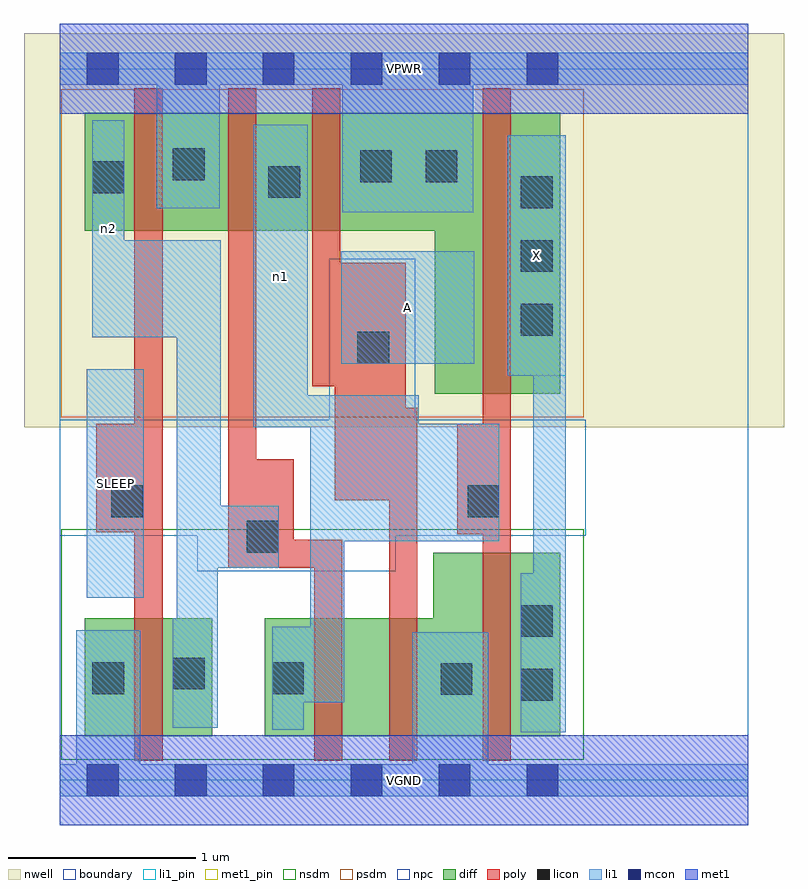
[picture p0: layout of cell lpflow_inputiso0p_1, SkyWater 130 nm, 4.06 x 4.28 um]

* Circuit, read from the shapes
.subckt lpflow_inputiso0p_1 A SLEEP VGND VPWR X n1 n2
XM1 n2 SLEEP VGND VSUBS sky130_fd_pr__nfet_01v8 w=0.63 l=0.15
XM2 n3 n2 n1 VSUBS sky130_fd_pr__nfet_01v8 w=0.63 l=0.15
XM3 VGND A n3 VSUBS sky130_fd_pr__nfet_01v8 w=0.63 l=0.15
XM4 X n1 VGND VSUBS sky130_fd_pr__nfet_01v8 w=0.98 l=0.15
XM5 VPWR SLEEP n2 n4 sky130_fd_pr__pfet_01v8 w=0.63 l=0.15
XM6 n1 n2 VPWR n4 sky130_fd_pr__pfet_01v8 w=0.63 l=0.15
XM7 VPWR A n1 n4 sky130_fd_pr__pfet_01v8 w=0.63 l=0.15
XM8 X n1 VPWR n4 sky130_fd_pr__pfet_01v8 w=1.5 l=0.15
.ends

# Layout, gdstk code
import gdstk
lib = gdstk.Library(unit=1e-6, precision=1e-09)
def R(c, l, rs):  # rectangles x0, y0, x1, y1
    for r in rs: c.add(gdstk.rectangle(r[:2], r[2:], *l))
def A(c, l, x, y, w, h, nx, ny, dx, dy):  # array of equal rectangles
    R(c, l, [(x+i*dx, y+j*dy, x+i*dx+w, y+j*dy+h) for i in range(nx) for j in range(ny)])
nwell = (64, 20)
diff = (65, 20)
poly = (66, 20)
licon = (66, 44)
li1_pin = (67, 16)
li1 = (67, 20)
mcon = (67, 44)
met1_pin = (68, 16)
met1 = (68, 20)
nsdm = (93, 44)
psdm = (94, 20)
npc = (95, 20)
boundary = (235, 4)

lpflow_inputiso0p_1 = lib.new_cell('lpflow_inputiso0p_1')
R(lpflow_inputiso0p_1, nwell, [(-0.19,1.885,3.87,3.99), (0,1.885,3.68,3.99)])
R(lpflow_inputiso0p_1, diff, [(0.135,0.235,0.815,0.865), (1.095,0.235,2.675,0.865), (1.995,0.235,2.675,1.215), (2.005,2.065,2.675,3.565), (0.135,2.935,2.675,3.565)])
R(lpflow_inputiso0p_1, poly, [(0.4,0.105,0.55,3.695), (1.36,0.105,1.51,1.285), (1.76,0.105,1.91,1.99), (2.26,0.105,2.41,3.695), (0.9,1.135,1.05,3.695), (0.9,1.135,1.25,1.715), (0.9,1.135,1.51,1.285), (2.125,1.315,2.41,1.905), (0.195,1.325,0.55,1.905), (1.47,1.495,1.85,2.765), (1.35,2.105,1.5,3.695)])
A(lpflow_inputiso0p_1, licon, 2.465, 2.375, 0.17, 0.17, 1, 3, 0, 0.34)
R(lpflow_inputiso0p_1, licon, [(2.465,0.425,2.635,0.595), (2.035,0.455,2.205,0.625), (0.175,0.46,0.345,0.63), (1.135,0.46,1.305,0.63), (0.605,0.485,0.775,0.655), (2.465,0.765,2.635,0.935), (1,1.215,1.17,1.385), (0.275,1.405,0.445,1.575), (2.18,1.405,2.35,1.575), (1.59,2.225,1.76,2.395), (1.115,3.11,1.285,3.28), (0.175,3.135,0.345,3.305), (1.605,3.195,1.775,3.365), (1.955,3.195,2.125,3.365), (0.605,3.205,0.775,3.375)])
R(lpflow_inputiso0p_1, li1_pin, [(0.145,0.975,0.45,2.195), (2.395,2.16,2.705,3.445), (1.505,2.225,2.215,2.825)])
R(lpflow_inputiso0p_1, li1, [(0,-0.085,3.68,0.085), (0.09,-0.085,0.43,0.8), (1.885,-0.085,2.29,0.79), (2.465,0.255,2.705,1.105), (2.53,0.255,2.705,3.445), (1.135,0.27,1.305,0.82), (0.605,0.28,0.845,0.865), (0.625,0.28,0.845,2.885), (1.135,0.415,1.52,0.82), (1.34,0.415,1.52,2.055), (0.145,0.975,0.45,2.195), (0.625,1.135,1.17,1.465), (0.625,1.135,0.86,2.885), (1.34,1.275,2.35,1.905), (1.035,1.885,1.325,3.5), (1.035,1.885,1.92,2.055), (2.395,2.16,2.705,3.445), (1.505,2.225,2.215,2.825), (0.175,2.365,0.345,3.525), (0.175,2.365,0.86,2.885), (1.51,3.035,2.21,3.885), (0.52,3.055,0.855,3.885), (0,3.715,3.68,3.885)])
A(lpflow_inputiso0p_1, mcon, 0.145, -0.085, 0.17, 0.17, 6, 2, 0.47, 3.8)
R(lpflow_inputiso0p_1, met1_pin, [(0,-0.24,3.68,0.24), (0,3.56,3.68,4.04)])
R(lpflow_inputiso0p_1, met1, [(0,-0.24,3.68,0.24), (0,3.56,3.68,4.04)])
R(lpflow_inputiso0p_1, nsdm, [(0.01,0.11,2.8,1.34)])
R(lpflow_inputiso0p_1, psdm, [(0.01,1.94,2.8,3.69)])
R(lpflow_inputiso0p_1, npc, [(0.735,1.115,1.795,1.925), (0,1.305,2.81,1.925), (1.44,1.305,1.9,2.785)])
R(lpflow_inputiso0p_1, boundary, [(0,0,3.68,3.8)])
lpflow_inputiso0p_1.add(gdstk.Label('A', (1.86,2.525), layer=67, texttype=5))
lpflow_inputiso0p_1.add(gdstk.Label('SLEEP', (0.297,1.585), layer=67, texttype=5))
lpflow_inputiso0p_1.add(gdstk.Label('X', (2.55,2.802), layer=67, texttype=5))
lpflow_inputiso0p_1.add(gdstk.Label('n1', (1.18,2.692), layer=67, texttype=5))
lpflow_inputiso0p_1.add(gdstk.Label('n2', (0.26,2.945), layer=67, texttype=5))
lpflow_inputiso0p_1.add(gdstk.Label('VPWR', (1.84,3.8), layer=68, texttype=5))
lpflow_inputiso0p_1.add(gdstk.Label('VGND', (1.84,0), layer=68, texttype=5))
lpflow_inputiso0p_1.add(gdstk.Label('A', (1.86,2.525), layer=67, texttype=16))
lpflow_inputiso0p_1.add(gdstk.Label('SLEEP', (0.297,1.585), layer=67, texttype=16))
lpflow_inputiso0p_1.add(gdstk.Label('X', (2.55,2.802), layer=67, texttype=16))
lpflow_inputiso0p_1.add(gdstk.Label('VPWR', (1.84,3.8), layer=68, texttype=16))
lpflow_inputiso0p_1.add(gdstk.Label('VGND', (1.84,0), layer=68, texttype=16))

lib.write_gds('lpflow_inputiso0p_1.gds')
